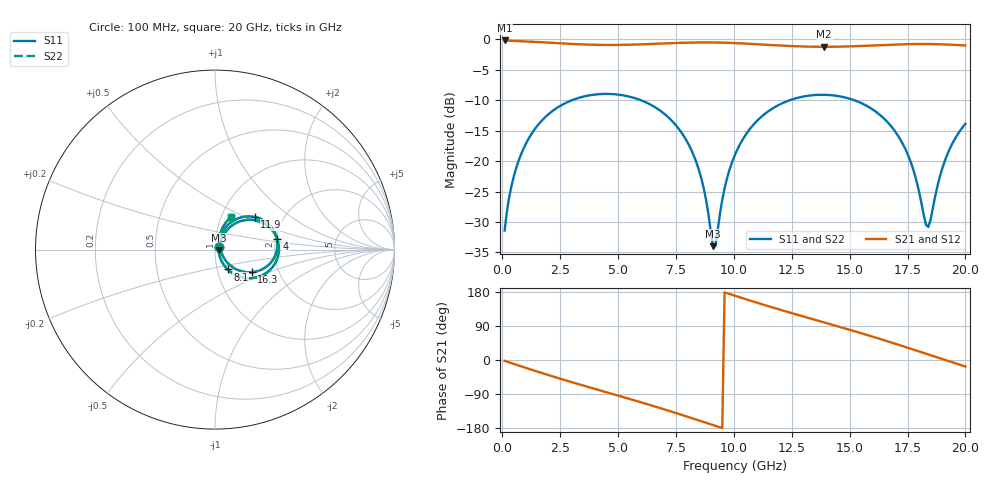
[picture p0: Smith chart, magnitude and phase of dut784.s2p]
! Touchstone file exported from HFSS 2026.1.0
!  File:  C:/ffzhzh/LocalFiles/Ansys_Project_Files/temp_train_TSV_RDL_784_1783260073_30076.aedt
!  Generated:  10:13:54 PM Jul  5, 2026
!  Design:  TSV_RDL
!  Project:  temp_train_TSV_RDL_784_1783260073_30076
! Variables:
!  h_bsmrdl = 3.56um
!  h_ox = 20um
!  h_rdl = 5um
!  h_sub = 58.44um
!  h_tmrdl = 5.58um
!  h_tsv = 58.44um
!  h_via = 3um
!  l_bsmrdl = 714um
!  l_sub = 6523.04um
!  l_tmrdl = 961.84um
!  m_sub = 200um
!  pitch = 38.8um
!  r_tsv = 14.19um
!  s_tmrdl = 10um
!  w_bsmrdl = 23.58um
!  w_sub = 500um
!  w_tmrdl = 20.98um
!  x_tsv_center1 = 972.33um
!  x_tsv_center2 = 1709.91um
!  x_tsv_center3 = 2692.73um
!  x_tsv_center4 = 3430.31um
!  x_tsv_center5 = 4413.13um
!  x_tsv_center6 = 5150.71um
# GHz S MA R 50.000000
! Terminal data exported
! Port[1] = TM_RDL1_1_T1
! Port[2] = TM_RDL5_1_T1
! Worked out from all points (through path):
!   200 points, 100 MHz to 20 GHz, reference 50 ohm
!   highest |S21| = -0.19 dB at 100 MHz (marker M1); lowest = -1.2 dB at 13.9 GHz (marker M2)
!   group delay of S21, straight-line fit = 51.9 ps
!   lowest |S11| = -34.0 dB at 9.1 GHz (marker M3), VSWR 1.04, Z = 52 - j0.478 ohm
!   |S11| at or under -10 dB: start of sweep to 3.005 GHz; 5.984 GHz to 12.41 GHz (6.431 GHz wide, 69.9 % of centre); 15.2 GHz to end of sweep
!   |S22| runs from -33.9 to -9.0 dB; largest |S21 - S12| = 1.6e-14
!   S11 on the Smith chart (normalised r, x): 100 MHz: 1.05, +0.03; 4 GHz: 2.04, +0.27; 8.1 GHz: 1.12, -0.25; 11.9 GHz: 1.44, +0.57; 16.3 GHz: 1.45, -0.39; 20 GHz: 1.11, +0.42
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0.1  0.02695 34.2  0.9782 -2.2  0.9782 -2.2  0.02695 34.2
! Gamma 0 0 0 0
! Port Impedance 50 0 50 0
0.5  0.07534 59.2  0.9713 -10.4  0.9713 -10.4  0.07534 59.2
1.2  0.1603 55.3  0.9585 -24.4  0.9585 -24.4  0.1603 55.3
3.5  0.3385 17.7  0.9069 -67.5  0.9069 -67.5  0.3385 17.7
4  0.3519 9.3  0.9011 -76.3  0.9011 -76.3  0.3519 9.4
5.4  0.3414 -13.9  0.9018 -101.0  0.9018 -101.0  0.3414 -13.9
6.8  0.2612 -37.5  0.9213 -126.6  0.9213 -126.6  0.2611 -37.4
8.1  0.1309 -57.5  0.9396 -151.7  0.9396 -151.7  0.1309 -57.4
8.7  0.05978 -58.8  0.9427 -163.6  0.9427 -163.6  0.05982 -58.6
9.1  0.02004 -13.3  0.9419 -171.6  0.9419 -171.6  0.02023 -12.9
9.2  0.02009 21.6  0.9413 -173.6  0.9413 -173.6  0.02031 21.5
9.7  0.07157 67.9  0.9363 176.4  0.9363 176.4  0.07166 67.8
10.1  0.1186 66.5  0.93 168.5  0.93 168.5  0.1187 66.5
11.9  0.2866 39.3  0.8906 134.5  0.8906 134.5  0.2867 39.4
13.4  0.3474 14.9  0.8691 107.8  0.8691 107.8  0.3475 15.0
13.9  0.3503 6.8  0.8676 99.1  0.8676 99.1  0.3503 6.9
16.3  0.2404 -31.7  0.8951 55.9  0.8951 55.9  0.2404 -31.5
16.7  0.2027 -37.7  0.9018 48.2  0.9018 48.2  0.2028 -37.4
17.6  0.1028 -46.5  0.9129 30.6  0.9129 30.6  0.1031 -46.0
18.4  0.02882 20.0  0.9142 14.5  0.9142 14.5  0.02984 19.8
19.1  0.09904 71.8  0.9072 0.5  0.9072 0.5  0.09939 71.3
20  0.2021 63.6  0.8896 -17.2  0.8896 -17.2  0.2023 63.4
